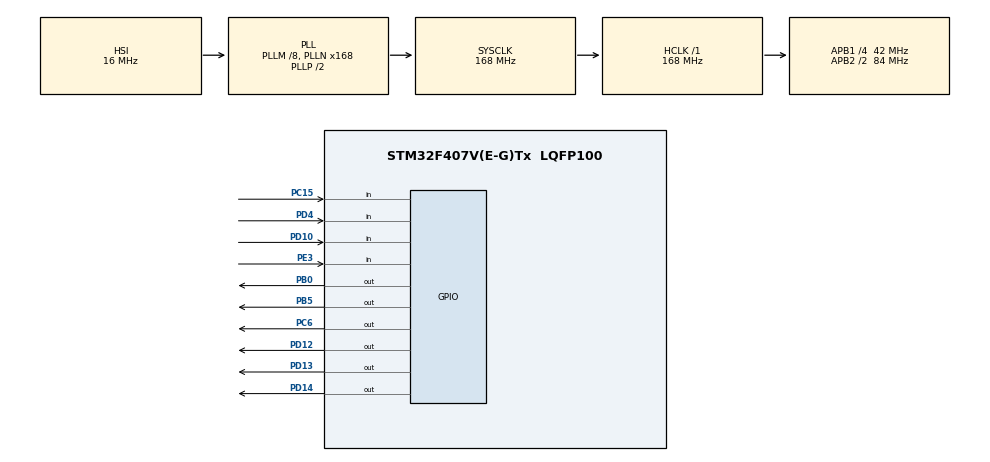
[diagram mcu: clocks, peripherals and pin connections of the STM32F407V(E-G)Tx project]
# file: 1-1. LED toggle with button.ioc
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Mcu.Family=STM32F4
Mcu.Name=STM32F407V(E-G)Tx
Mcu.Package=LQFP100
NVIC.PriorityGroup=NVIC_PRIORITYGROUP_4
PB0.Signal=GPIO_Output
PB5.Signal=GPIO_Output
PC15-OSC32_OUT.Signal=GPIO_Input
PC6.Signal=GPIO_Output
PD10.Signal=GPIO_Input
PD12.Signal=GPIO_Output
PD13.Signal=GPIO_Output
PD14.Signal=GPIO_Output
PD4.Signal=GPIO_Input
PE3.Signal=GPIO_Input
PH0-OSC_IN.Mode=HSE-External-Oscillator
PH0-OSC_IN.Signal=RCC_OSC_IN
PH1-OSC_OUT.Mode=HSE-External-Oscillator
PH1-OSC_OUT.Signal=RCC_OSC_OUT
ProjectManager.HeapSize=0x200
ProjectManager.StackSize=0x400
ProjectManager.TargetToolchain=STM32CubeIDE
RCC.48MHZClocksFreq_Value=84000000
RCC.AHBFreq_Value=168000000
RCC.APB1CLKDivider=RCC_HCLK_DIV4
RCC.APB1Freq_Value=42000000
RCC.APB1TimFreq_Value=84000000
RCC.APB2CLKDivider=RCC_HCLK_DIV2
RCC.APB2Freq_Value=84000000
RCC.APB2TimFreq_Value=168000000
RCC.CortexFreq_Value=168000000
RCC.HCLKFreq_Value=168000000
RCC.HSE_VALUE=8000000
RCC.HSI_VALUE=16000000
RCC.LSE_VALUE=32768
RCC.PLLM=8
RCC.PLLN=168
RCC.SYSCLKFreq_VALUE=168000000
RCC.SYSCLKSource=RCC_SYSCLKSOURCE_PLLCLK
RCC.VCOOutputFreq_Value=336000000
board=custom

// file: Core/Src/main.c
/* USER CODE BEGIN Header */
/**
  ******************************************************************************
  * @file           : main.c
  * @brief          : Main program body
  ******************************************************************************
  * @attention
  *
  * Copyright (c) 2024 STMicroelectronics.
  * All rights reserved.
  *
  * This software is licensed under terms that can be found in the LICENSE file
  * in the root directory of this software component.
  * If no LICENSE file comes with this software, it is provided AS-IS.
  *
  ******************************************************************************
  */
/* USER CODE END Header */
#include "main.h"
#include "gpio.h"

/* USER CODE BEGIN Includes */
#include "easyMacros.h"
/* USER CODE END Includes */

/* USER CODE BEGIN PD */
#define TRUE 1
#define FALSE 0
/* USER CODE END PD */

/* USER CODE BEGIN PV */
int SW1_pressed = FALSE;
int SW2_pressed = FALSE;
int SW3_pressed = FALSE;
/* USER CODE END PV */

void SystemClock_Config(void);

int main(void)
{

  /* MCU Configuration--------------------------------------------------------*/

  /* Reset of all peripherals, Initializes the Flash interface and the Systick. */
  HAL_Init();

  /* Configure the system clock */
  SystemClock_Config();

  /* Initialize all configured peripherals */
  MX_GPIO_Init();

  /* USER CODE BEGIN 2 */
  L_RED_LED_OFF();
  L_GREEN_LED_OFF();
  L_BLUE_LED_OFF();
  R_RED_LED_OFF();
  R_GREEN_LED_OFF();
  R_BLUE_LED_OFF();
  /* USER CODE END 2 */

  /* Infinite loop */
  while (1)
  {

    /* USER CODE BEGIN 3 */
	  /* 로직은 red, green, blue LED 전부 같은 방식으로 동작한다.
	   *
	   * 로직 설명
	   * 버튼을 누르는 순간과 버튼을 때는 순간 전부 Rising Edge, Falling Edge 로 정의할 수 있다.
	   * Rising Edge는 0->1로 신호가 바뀌는 순간이며, Falling Edge는 1->0으로 신호가 바뀌는 순간이다.
	   * 즉, Rising Edge는 버튼을 누르기 전에는 신호가 0이였다가, 버튼을 누르는 중에는 신호가 1로 된다.
	   * 그리고 Falling Edge는 버튼을 누르기 전에는 신호가 1이였다가, 버튼을 누르는 중에는 신호가 0으로 된다.
	   *
	   * 이를 종합해보면, "버튼을 누르기 전과 버튼을 누르는 중이 다른 경우"가 Rising Edge, Falling Edge의 조건이 된다.
	   * 여기서 버튼을 누르고 있는 상태가 아니냐에 따라서 Rising Edge, Falling Edge를 구분할 수 있다.
	   */

	if(SW1_pressed != CHECK_SW1_PRESSING()) // 버튼을 누르기 전과 버튼을 누르는 중이 다르면 Rising Edge, Falling Edge의 조건이 된다.
	{
		SW1_pressed = !SW1_pressed; // 버튼을 누른 상태를 반영한다.

		if(SW1_pressed) L_RED_LED_TOGGLE(); // 만약 버튼을 누른 상태라면 왼쪽 LED를 토글하고,
		else R_RED_LED_TOGGLE(); // 버튼을 땐 상태라면 오른쪽 LED를 토글한다.
	}

	if(SW2_pressed != CHECK_SW2_PRESSING())
	{
		SW2_pressed = !SW2_pressed;

		if(SW2_pressed) L_GREEN_LED_TOGGLE();
		else R_GREEN_LED_TOGGLE();
	}

	if(SW3_pressed != CHECK_SW3_PRESSING())
	{
		SW3_pressed = !SW3_pressed;

		if(SW3_pressed) L_BLUE_LED_TOGGLE();
		else R_BLUE_LED_TOGGLE();
	}
  }
  /* USER CODE END 3 */
}

void SystemClock_Config(void)
{
  RCC_OscInitTypeDef RCC_OscInitStruct = {0};
  RCC_ClkInitTypeDef RCC_ClkInitStruct = {0};

  /** Configure the main internal regulator output voltage
  */
  __HAL_RCC_PWR_CLK_ENABLE();
  __HAL_PWR_VOLTAGESCALING_CONFIG(PWR_REGULATOR_VOLTAGE_SCALE1);

  /** Initializes the RCC Oscillators according to the specified parameters
  * in the RCC_OscInitTypeDef structure.
  */
  RCC_OscInitStruct.OscillatorType = RCC_OSCILLATORTYPE_HSI;
  RCC_OscInitStruct.HSIState = RCC_HSI_ON;
  RCC_OscInitStruct.HSICalibrationValue = RCC_HSICALIBRATION_DEFAULT;
  RCC_OscInitStruct.PLL.PLLState = RCC_PLL_ON;
  RCC_OscInitStruct.PLL.PLLSource = RCC_PLLSOURCE_HSI;
  RCC_OscInitStruct.PLL.PLLM = 8;
  RCC_OscInitStruct.PLL.PLLN = 168;
  RCC_OscInitStruct.PLL.PLLP = RCC_PLLP_DIV2;
  RCC_OscInitStruct.PLL.PLLQ = 4;
  if (HAL_RCC_OscConfig(&RCC_OscInitStruct) != HAL_OK)
  {
    Error_Handler();
  }

  /** Initializes the CPU, AHB and APB buses clocks
  */
  RCC_ClkInitStruct.ClockType = RCC_CLOCKTYPE_HCLK|RCC_CLOCKTYPE_SYSCLK
                              |RCC_CLOCKTYPE_PCLK1|RCC_CLOCKTYPE_PCLK2;
  RCC_ClkInitStruct.SYSCLKSource = RCC_SYSCLKSOURCE_PLLCLK;
  RCC_ClkInitStruct.AHBCLKDivider = RCC_SYSCLK_DIV1;
  RCC_ClkInitStruct.APB1CLKDivider = RCC_HCLK_DIV4;
  RCC_ClkInitStruct.APB2CLKDivider = RCC_HCLK_DIV2;

  if (HAL_RCC_ClockConfig(&RCC_ClkInitStruct, FLASH_LATENCY_5) != HAL_OK)
  {
    Error_Handler();
  }
}

void Error_Handler(void)
{
  __disable_irq();
  while (1)
  {
  }
}
